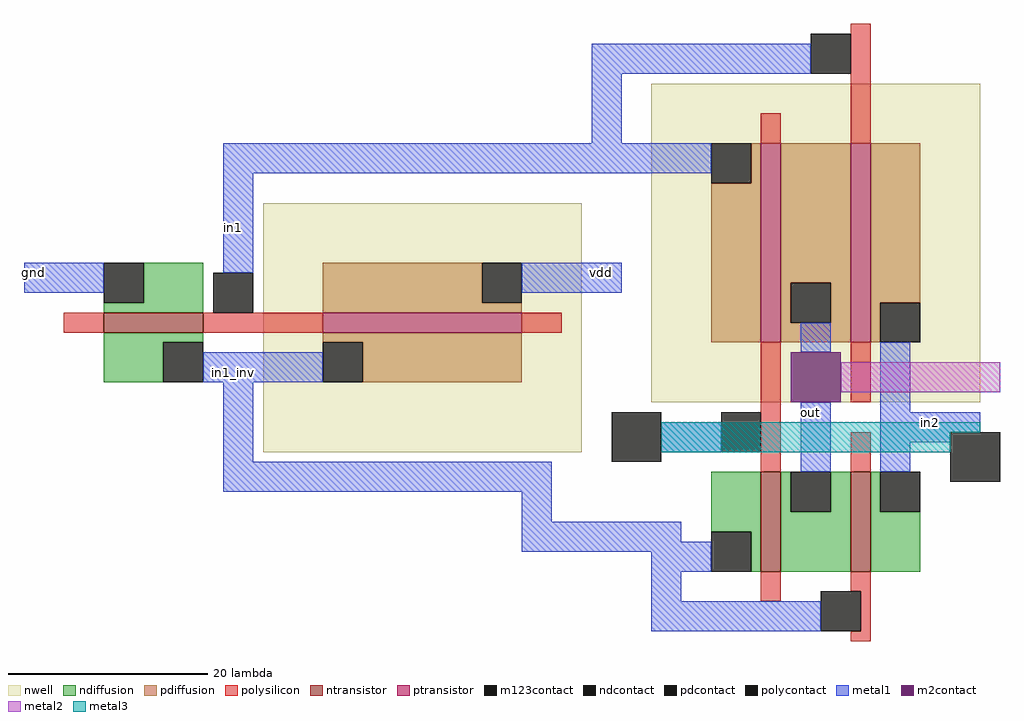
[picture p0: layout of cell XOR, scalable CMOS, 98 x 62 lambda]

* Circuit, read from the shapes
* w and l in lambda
.subckt XOR gnd in1 in1_inv in2 out vdd
M1 gnd in1 in1_inv VSUBS nfet w=10 l=2
M2 out in2 in1_inv VSUBS nfet w=10 l=2
M3 in2 in1_inv out VSUBS nfet w=10 l=2
M4 vdd in1 in1_inv n1 pfet w=20 l=2
M5 out in2 in1 n2 pfet w=20 l=2
M6 in2 in1 out n2 pfet w=20 l=2
.ends

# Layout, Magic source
magic
tech scmos
<< nwell >>
rect -60 18 -28 43
rect -21 23 12 55
<< ntransistor >>
rect -76 30 -66 32
rect -10 6 -8 16
rect -1 6 1 16
<< ptransistor >>
rect -54 30 -34 32
rect -10 29 -8 49
rect -1 29 1 49
<< ndiffusion >>
rect -72 33 -66 37
rect -76 32 -66 33
rect -76 29 -66 30
rect -76 25 -70 29
rect -15 10 -10 16
rect -11 6 -10 10
rect -8 12 -7 16
rect -3 12 -1 16
rect -8 6 -1 12
rect 1 12 2 16
rect 1 6 6 12
<< pdiffusion >>
rect -11 45 -10 49
rect -54 33 -38 37
rect -54 32 -34 33
rect -54 29 -34 30
rect -15 29 -10 45
rect -8 35 -1 49
rect -8 31 -7 35
rect -3 31 -1 35
rect -8 29 -1 31
rect 1 33 6 49
rect 1 29 2 33
rect -50 25 -34 29
<< ndcontact >>
rect -76 33 -72 37
rect -70 25 -66 29
rect -15 6 -11 10
rect -7 12 -3 16
rect 2 12 6 16
<< pdcontact >>
rect -15 45 -11 49
rect -38 33 -34 37
rect -7 31 -3 35
rect 2 29 6 33
rect -54 25 -50 29
<< polysilicon >>
rect -10 49 -8 52
rect -1 49 1 61
rect -80 30 -76 32
rect -66 30 -54 32
rect -34 30 -30 32
rect -10 16 -8 29
rect -1 23 1 29
rect -1 16 1 20
rect -10 3 -8 6
rect -1 4 1 6
rect 0 0 1 4
rect -1 -1 1 0
<< polycontact >>
rect -5 56 -1 60
rect -65 32 -61 36
rect -14 18 -10 22
rect -4 0 0 4
<< metal1 >>
rect -27 56 -5 59
rect -27 49 -24 56
rect -64 46 -15 49
rect -84 34 -76 37
rect -64 36 -61 46
rect -34 34 -24 37
rect -66 25 -54 28
rect -6 28 -3 31
rect -64 17 -61 25
rect -20 18 -14 21
rect -64 14 -31 17
rect -6 16 -3 23
rect -34 11 -31 14
rect 2 22 5 29
rect 2 20 12 22
rect 2 19 9 20
rect 2 16 5 19
rect -34 9 -18 11
rect -34 8 -15 9
rect -21 6 -15 8
rect -21 3 -18 6
rect -21 0 -4 3
<< m2contact >>
rect -7 23 -2 28
<< metal2 >>
rect -2 24 14 27
<< m123contact >>
rect -25 17 -20 22
rect 9 15 14 20
<< metal3 >>
rect -20 20 12 21
rect -20 18 9 20
<< labels >>
rlabel metal1 -63 26 -63 26 3 in1_inv
rlabel metal1 -64 39 -62 42 5 in1
rlabel metal1 -83 36 -83 36 3 gnd
rlabel metal1 -26 36 -26 36 1 vdd
rlabel metal1 -5 22 -5 22 1 out
rlabel metal3 7 21 7 21 1 in2
<< end >>
